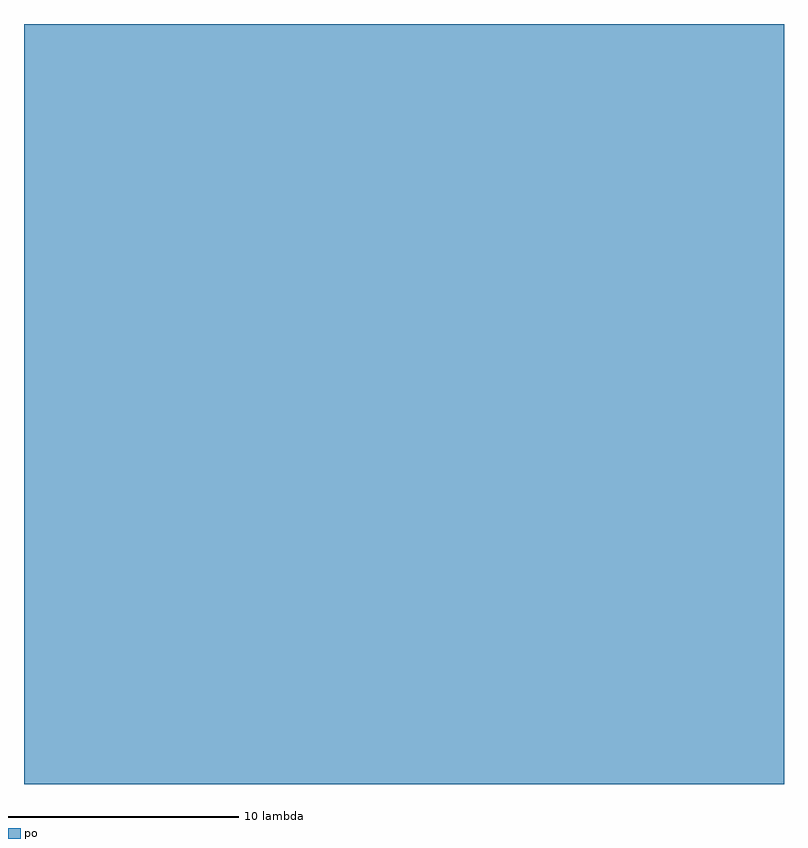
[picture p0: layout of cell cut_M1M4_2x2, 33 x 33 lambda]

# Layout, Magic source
magic
tech tech
magscale 1 2
<< po >>
rect 0 0 66 66
rect 15 15 25 25
rect 15 41 25 51
rect 41 15 51 25
rect 41 41 51 51
rect 0 0 66 66
rect 15 15 25 25
rect 15 41 25 51
rect 41 15 51 25
rect 41 41 51 51
rect 0 0 66 66
rect 15 15 25 25
rect 15 41 25 51
rect 41 15 51 25
rect 41 41 51 51
rect 0 0 66 66
<< labels >>
<< properties >>
string FIXED_BBOX 0 0 66 66
<< end >>
